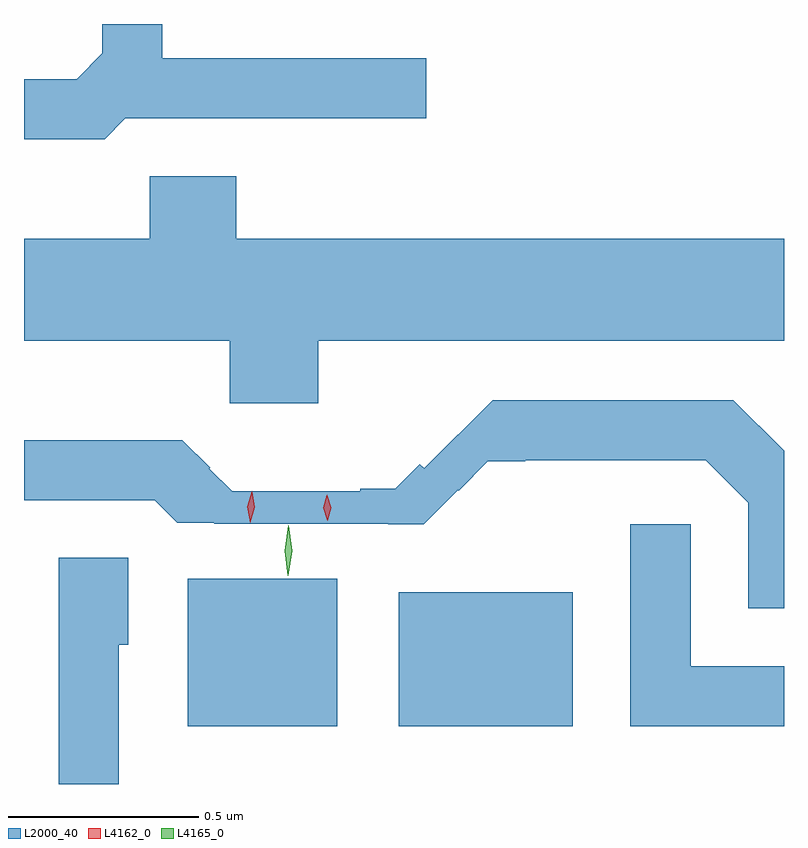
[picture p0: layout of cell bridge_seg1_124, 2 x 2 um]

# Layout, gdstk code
import gdstk
lib = gdstk.Library(unit=1e-6, precision=1e-09)
def R(c, l, rs):  # rectangles x0, y0, x1, y1
    for r in rs: c.add(gdstk.rectangle(r[:2], r[2:], *l))
def P(c, l, *ps):  # polygons
    for p in ps: c.add(gdstk.Polygon(p, *l))
L2000_40 = (2000, 40)
L4162_0 = (4162, 0)
L4165_0 = (4165, 0)

bridge_seg1_124 = lib.new_cell('bridge_seg1_124')
R(bridge_seg1_124, L2000_40, [(1388.121,900.781,1388.514,901.169), (1388.676,900.781,1389.134,901.134)])
P(bridge_seg1_124, L2000_40, [(1387.957,902.381),(1388.748,902.381),(1388.748,902.539),(1388.054,902.539),(1388.054,902.629),(1387.896,902.629),(1387.896,902.552),(1387.829,902.484),(1387.69,902.484),(1387.69,902.326),(1387.902,902.326)],
  [(1388.464,901.796),(1389.69,901.796),(1389.69,902.064),(1388.249,902.064),(1388.249,902.229),(1388.021,902.229),(1388.021,902.064),(1387.69,902.064),(1387.69,901.796),(1388.231,901.796),(1388.231,901.631),(1388.464,901.631)],
  [(1389.69,901.506),(1389.557,901.639),(1388.923,901.639),(1388.743,901.46),(1388.732,901.471),(1388.667,901.406),(1388.575,901.406),(1388.575,901.4),(1388.238,901.4),(1388.178,901.459),(1388.18,901.461),(1388.107,901.534),(1387.69,901.534),(1387.69,901.376),(1388.034,901.376),(1388.093,901.317),(1388.19,901.317),(1388.19,901.314),(1388.649,901.314),(1388.649,901.313),(1388.742,901.313),(1388.832,901.402),(1388.834,901.401),(1388.911,901.478),(1389.009,901.478),(1389.009,901.481),(1389.484,901.481),(1389.596,901.369),(1389.596,901.091),(1389.69,901.091)],
  [(1389.69,900.939),(1389.444,900.939),(1389.444,901.313),(1389.286,901.313),(1389.286,900.781),(1389.69,900.781)],
  [(1387.939,900.996),(1387.964,900.996),(1387.964,901.224),(1387.781,901.224),(1387.781,900.629),(1387.939,900.629)])
P(bridge_seg1_124, L4162_0, [(1388.489,901.322),(1388.488,901.323),(1388.478,901.356),(1388.487,901.389),(1388.488,901.39),(1388.488,901.389),(1388.498,901.356),(1388.489,901.323)],
  [(1388.285,901.316),(1388.285,901.317),(1388.277,901.358),(1388.289,901.398),(1388.289,901.398),(1388.29,901.398),(1388.297,901.357),(1388.286,901.317)])
P(bridge_seg1_124, L4165_0, [(1388.384,901.177),(1388.376,901.243),(1388.386,901.309),(1388.386,901.31),(1388.387,901.309),(1388.396,901.243),(1388.385,901.177),(1388.385,901.177)])

lib.write_gds('bridge_seg1_124.gds')
